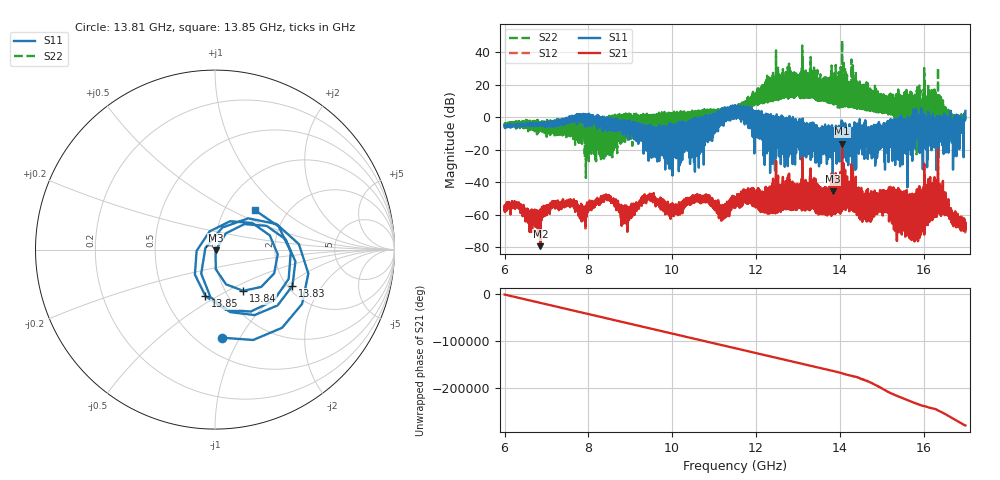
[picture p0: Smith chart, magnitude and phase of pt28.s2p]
#  HZ  S  RI  R  50.00
! Rohde & Schwarz Vector Network Analyzer
! Rohde-Schwarz,ZNA67-2Port,1332450062101215,3.01
! Created: UTC 10/15/2026, 3:23:44 PM
! freq[Hz]  re:S11  im:S11  re:S21  im:S21  re:S12  im:S12  re:S22  im:S22
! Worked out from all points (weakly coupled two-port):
!   11001 points, 6 GHz to 17 GHz, reference 50 ohm
!   highest |S21| = -16.24 dB at 14.06 GHz (marker M1); lowest = -79.2 dB at 6.853 GHz (marker M2)
!   lowest |S11| = -45.5 dB at 13.83 GHz (marker M3), VSWR 1.01, Z = 50.3 - j0.409 ohm
!   |S11| at or under -10 dB: 13.48035 GHz to 13.49715 GHz (16.8 MHz wide, 0.125 % of centre); 13.59831 GHz to 13.63793 GHz (39.62 MHz wide, 0.291 % of centre); 14.15708 GHz to 14.17441 GHz (17.33 MHz wide, 0.122 % of centre) (the widest 3 of 503)
!   |S22| runs from -37.2 to 47.3 dB; largest |S21 - S12| = 0.0079
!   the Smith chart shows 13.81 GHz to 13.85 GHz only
!   S11 on the Smith chart (normalised r, x): 13.81 GHz: 0.65, -0.84; 13.83 GHz: 2.13, -1.11; 13.84 GHz: 1.21, -0.60; 13.85 GHz: 0.79, -0.44; 13.85 GHz: 1.39, +0.67
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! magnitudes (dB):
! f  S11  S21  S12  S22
! 6 GHz  -4.9  -56.5  -56.8  -3.6
! 6.853 GHz  -4.2  -79.2  -76.8  -5.8
! 7.18 GHz  -3.5  -53.4  -53.1  -9.0
! 7.834 GHz  -0.3  -56.5  -56.4  -9.9
! 8.44 GHz  -0.9  -49.8  -49.7  -6.9
! 8.927 GHz  -3.3  -57.2  -57.2  1.6
! 9.667 GHz  -12.3  -53.6  -53.6  -6.5
! 11.21 GHz  5.0  -57.1  -56.5  2.6
! 11.5 GHz  7.0  -53.8  -53.9  4.9
! 13.33 GHz  -8.6  -52.6  -52.5  14.9
! 13.81 GHz  -6.2  -53.7  -53.6  11.9
! 13.83 GHz  -6.4  -57.8  -58.0  10.2
! 13.83 GHz  -45.5  -53.9  -54.1  12.8
! 13.84 GHz  -11.1  -58.5  -58.0  9.2
! 13.85 GHz  -11.5  -46.5  -46.4  20.7
! 13.85 GHz  -10.1  -45.3  -44.9  21.0
! 14.06 GHz  -5.8  -16.2  -16.0  47.3
! 15.17 GHz  -9.7  -53.0  -52.4  8.2
! 15.73 GHz  -7.8  -53.0  -52.5  8.4
! 16.39 GHz  -1.3  -59.5  -59.3  -1.9
! 16.74 GHz  0.1  -61.9  -62.0  0.0
! 17 GHz  4.0  -68.4  -68.7  -0.1
